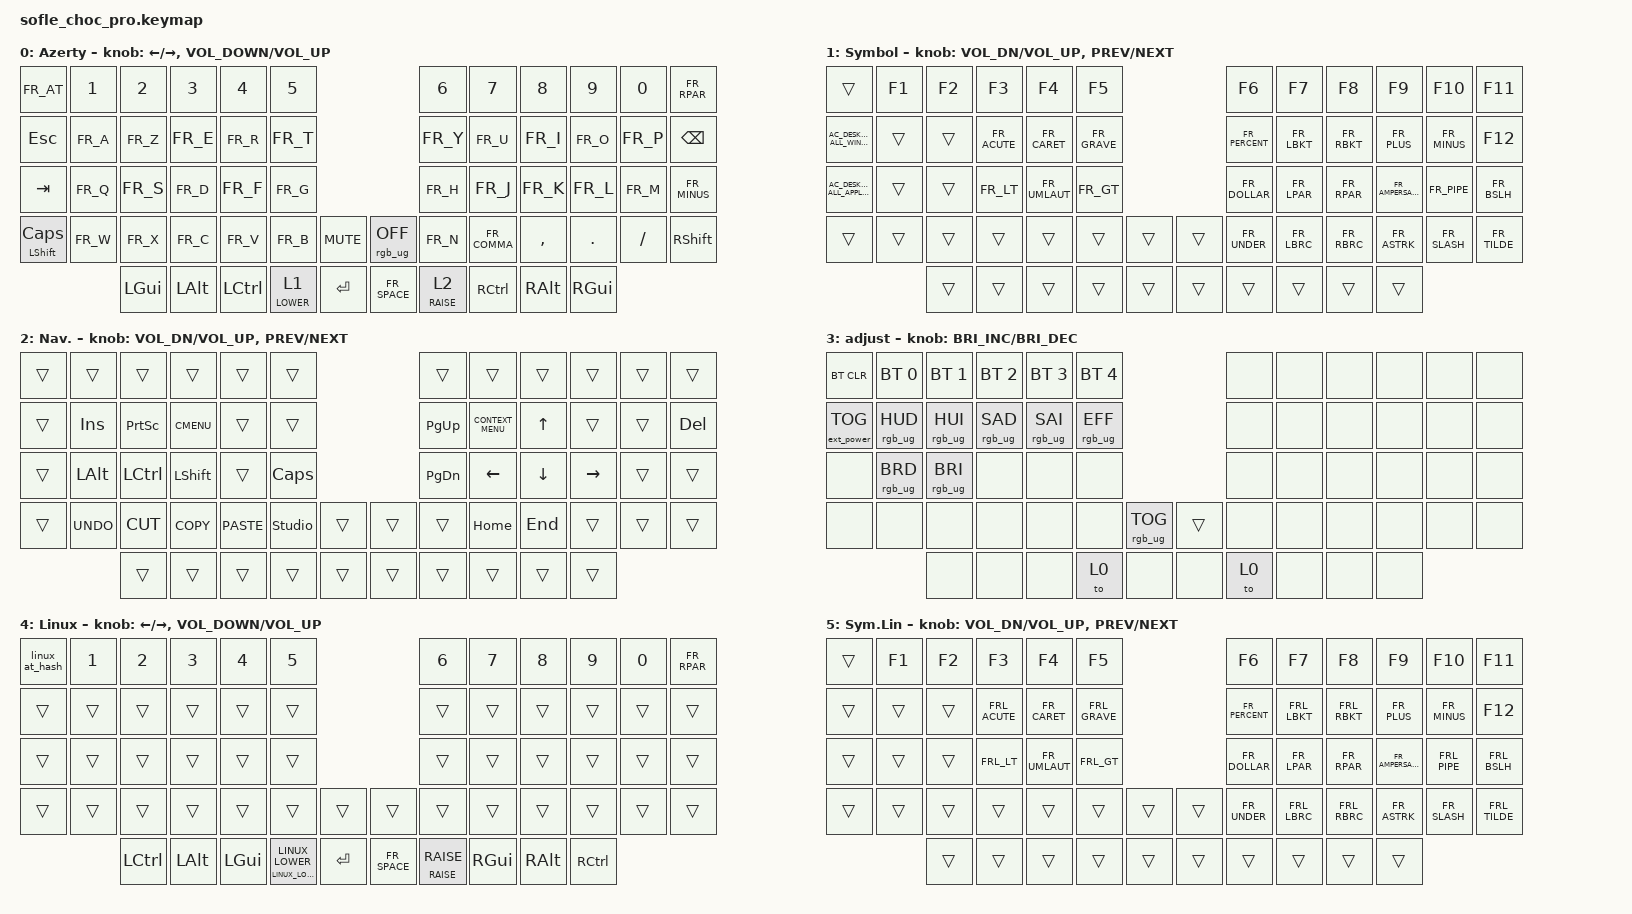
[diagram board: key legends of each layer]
/*
* Copyright (c) 2020 The ZMK Contributors
*
* SPDX-License-Identifier: MIT
*/

#include "keys_fr_belgian.h"
#include "keys_fr_belgian_linux.h"
#include <dt-bindings/zmk/hid_usage.h>
#include <dt-bindings/zmk/hid_usage_pages.h>
#include <dt-bindings/zmk/modifiers.h>
#include <behaviors.dtsi>
#include <dt-bindings/zmk/bt.h>
#include <dt-bindings/zmk/ext_power.h>
#include <dt-bindings/zmk/keys.h>
#include <dt-bindings/zmk/rgb.h>

#define BASE        0
#define LOWER       1
#define RAISE       2
#define ADJUST      3
#define LINUX_BASE  4
#define LINUX_LOWER 5

&caps_word { continue-list = <UNDERSCORE BACKSPACE DELETE COMMA MINUS>; };

/ {
    // Activate ADJUST layer by pressing raise and lower

    conditional_layers {
        compatible = "zmk,conditional-layers";

        adjust_layer {
            if-layers = <LOWER RAISE>;
            then-layer = <ADJUST>;
        };

        linux_adjust_layer {
            if-layers = <LINUX_LOWER RAISE>;
            then-layer = <ADJUST>;
        };
    };

    behaviors {
        // shift tap becomes caps word

        hold_tap: hold_tap {
            compatible = "zmk,behavior-hold-tap";
            label = "HOLD_TAP";
            bindings = <&kp>, <&caps_word>;

            #binding-cells = <2>;
            flavor = "hold-preferred";
            tapping-term-ms = <200>;
        };

        // layer hold tap becomes layer when held, toggle when tapped

        layer_hold_tap: layer_hold_tap {
            compatible = "zmk,behavior-hold-tap";
            label = "LAYER_HOLD_TAP";
            bindings = <&mo>, <&tog>;

            #binding-cells = <2>;
            tapping-term-ms = <200>;
        };

        // Linux "be" xkb puts @ and # on different physical keys (unlike macOS,
        // where # falls out for free as Shift+@-key). This mod-morph reproduces
        // the macOS two-legend @/# key explicitly on the Linux base layer.

        linux_at_hash: linux_at_hash {
            compatible = "zmk,behavior-mod-morph";
            label = "LINUX_AT_HASH";
            #binding-cells = <0>;
            bindings = <&kp FRL_AT>, <&kp FRL_HASH>;
            mods = <(MOD_LSFT|MOD_RSFT)>;
        };
    };

    combos {
        compatible = "zmk,combos";

        // macOS: D+F --> ctrl + command + left --> window snap left

        align_left {
            bindings = <&kp LC(LG(LEFT_ARROW))>;
            key-positions = <27 28>;
            layers = <BASE LOWER RAISE ADJUST>;
        };

        // macOS: J+K --> ctrl + command + right --> window snap right

        align_right {
            bindings = <&kp LC(LG(RIGHT_ARROW))>;
            key-positions = <31 32>;
            layers = <BASE LOWER RAISE ADJUST>;
        };

        // Linux: D+F --> Super+Left --> window snap left (GNOME/KDE)

        linux_align_left {
            bindings = <&kp LG(LEFT_ARROW)>;
            key-positions = <27 28>;
            layers = <LINUX_BASE LINUX_LOWER RAISE ADJUST>;
        };

        // Linux: J+K --> Super+Right --> window snap right (GNOME/KDE)

        linux_align_right {
            bindings = <&kp LG(RIGHT_ARROW)>;
            key-positions = <31 32>;
            layers = <LINUX_BASE LINUX_LOWER RAISE ADJUST>;
        };
    };

    keymap {
        compatible = "zmk,keymap";

        default_layer {
            display-name = "Azerty";

            // ------------------------------------------------------------------------------------------------------------
            // |   @   |  1  |  2  |  3   |  4   |  5   |                   |  6   |  7    |  8    |  9   |   0   |   )   |
            // |  ESC  |  A  |  Z  |  E   |  R   |  T   |                   |  Y   |  U    |  I    |  O   |   P   |  BSPC |
            // |  TAB  |  Q  |  S  |  D   |  F   |  G   |                   |  H   |  J    |  K    |  L   |   M   |   -   |
            // | SHIFT |  W  |  X  |  C   |  V   |  B   |  MUTE  |  | PLAY  |  N   |  ,    |  ,    |  .   |   /   | SHIFT |
            //               | GUI | ALT  | CTRL | LOWER|  ENTER |  | SPACE | RAISE| CTRL  | ALT   | GUI  |

            bindings = <
&kp FR_AT                  &kp N1    &kp N2    &kp N3    &kp N4     &kp N5                                                  &kp N6                   &kp N7        &kp N8     &kp N9      &kp NUMBER_0  &kp FR_RPAR
&kp ESCAPE                 &kp FR_A  &kp FR_Z  &kp FR_E  &kp FR_R   &kp FR_T                                                &kp FR_Y                 &kp FR_U      &kp FR_I   &kp FR_O    &kp FR_P      &kp BSPC
&kp TAB                    &kp FR_Q  &kp FR_S  &kp FR_D  &kp FR_F   &kp FR_G                                                &kp FR_H                 &kp FR_J      &kp FR_K   &kp FR_L    &kp FR_M      &kp FR_MINUS
&hold_tap LEFT_SHIFT CAPS  &kp FR_W  &kp FR_X  &kp FR_C  &kp FR_V   &kp FR_B                 &kp C_MUTE    &rgb_ug RGB_OFF  &kp FR_N                 &kp FR_COMMA  &kp COMMA  &kp PERIOD  &kp FSLH      &kp RSHFT
                                     &kp LGUI  &kp LALT  &kp LCTRL  &layer_hold_tap LOWER 1  &kp RET       &kp FR_SPACE     &layer_hold_tap RAISE 2  &kp RCTRL     &kp RALT   &kp RGUI
            >;

            sensor-bindings =
                <&inc_dec_kp LEFT RIGHT>,
                <&inc_dec_kp C_VOLUME_DOWN C_VOLUME_UP>;
        };

        lower_layer {
            display-name = "Symbol";

            // ------------------------------------------------------------------------------------------------------------
            // |       |  F1 |  F2 |  F3  |  F4  |  F5  |                   |  F6  |  F7   |  F8   |  F9  |  F10  |  F11  |
            // |       |     |     |  ´   |  ^   |  `   |                   |  %   |  [    |  ]    |  +   |   -   |  F12  |
            // |       |     |     |  <   |  ¨   |  >   |                   |  $   |  (    |  )    |  &   |   |   |   \   |
            // |       |     |     |      |      |      |        |  |       |  _   |  {    |  }    |  *   |   /   |   ~   |
            //               |     |      |      |      |        |  |       |      |       |       |      |

            bindings = <
&trans                                  &kp F1  &kp F2  &kp F3        &kp F4         &kp F5                          &kp F6          &kp F7       &kp F8       &kp F9            &kp F10       &kp F11
&kp C_AC_DESKTOP_SHOW_ALL_WINDOWS       &trans  &trans  &kp FR_ACUTE  &kp FR_CARET   &kp FR_GRAVE                    &kp FR_PERCENT  &kp FR_LBKT  &kp FR_RBKT  &kp FR_PLUS       &kp FR_MINUS  &kp F12
&kp C_AC_DESKTOP_SHOW_ALL_APPLICATIONS  &trans  &trans  &kp FR_LT     &kp FR_UMLAUT  &kp FR_GT                       &kp FR_DOLLAR   &kp FR_LPAR  &kp FR_RPAR  &kp FR_AMPERSAND  &kp FR_PIPE   &kp FR_BSLH
&trans                                  &trans  &trans  &trans        &trans         &trans        &trans    &trans  &kp FR_UNDER    &kp FR_LBRC  &kp FR_RBRC  &kp FR_ASTRK      &kp FR_SLASH  &kp FR_TILDE
                                                &trans  &trans        &trans         &trans        &trans    &trans  &trans          &trans       &trans       &trans
            >;

            sensor-bindings = <&inc_dec_kp C_VOL_DN C_VOL_UP &inc_dec_kp C_PREV C_NEXT>;
        };

        raise_layer {
            display-name = "Nav.";

            // ------------------------------------------------------------------------------------------------------------
            // |       |      |      |       |       |      |                |      |      |       |      |       |       |
            // |       | INS  | PSCR | MENU  |       |      |                | PGUP | RCLK |   ^   |      |       |  DEL  |
            // |       | ALT  | CTRL | SHIFT |       | CAPS |                | PGDN |   <- |   v   |  ->  |       |       |
            // |       | UNDO | CUT  | COPY  | PASTE |UNLOCK|      |  |      |      | HOME |  END  |      |       |       |
            //                |      |       |       |      |      |  |      |      |      |       |      |

            bindings = <
&trans  &trans      &trans     &trans       &trans       &trans                            &trans     &trans              &trans    &trans     &trans  &trans
&trans  &kp INS     &kp PSCRN  &kp K_CMENU  &trans       &trans                            &kp PG_UP  &kp K_CONTEXT_MENU  &kp UP    &trans     &trans  &kp DEL
&trans  &kp LALT    &kp LCTRL  &kp LSHFT    &trans       &kp CLCK                          &kp PG_DN  &kp LEFT            &kp DOWN  &kp RIGHT  &trans  &trans
&trans  &kp K_UNDO  &kp K_CUT  &kp K_COPY   &kp K_PASTE  &studio_unlock  &trans    &trans  &trans     &kp HOME            &kp END   &trans     &trans  &trans
                    &trans     &trans       &trans       &trans          &trans    &trans  &trans     &trans              &trans    &trans
            >;

            sensor-bindings = <&inc_dec_kp C_VOL_DN C_VOL_UP &inc_dec_kp C_PREV C_NEXT>;
        };

        adjust_layer {
            // ----------------------------------------------------------------------------------------------------------------------------
            // | BTCLR  |  BT1    |  BT2    |   BT3   |   BT4   |   BT5   |                  |      |      |       |      |       |       |
            // | EXTPWR | RGB_HUD | RGB_HUI | RGB_SAD | RGB_SAI | RGB_EFF |                  |      |      |       |      |       |       |
            // |        | RGB_BRD | RGB_BRI |         |         |         |                  |      |      |       |      |       |       |
            // |        |         |         |         |         |         | RGB_TOG | |      |      |      |       |      |       |       |
            //                    |         |         |         |         |         | |      |      |      |       |      |

            display-name = "adjust";
            bindings = <
&bt BT_CLR         &bt BT_SEL 0     &bt BT_SEL 1     &bt BT_SEL 2     &bt BT_SEL 3     &bt BT_SEL 4                                &none  &none  &none  &none  &none  &none
&ext_power EP_TOG  &rgb_ug RGB_HUD  &rgb_ug RGB_HUI  &rgb_ug RGB_SAD  &rgb_ug RGB_SAI  &rgb_ug RGB_EFF                             &none  &none  &none  &none  &none  &none
&none              &rgb_ug RGB_BRD  &rgb_ug RGB_BRI  &none            &none            &none                                       &none  &none  &none  &none  &none  &none
&none              &none            &none            &none            &none            &none            &rgb_ug RGB_TOG    &trans  &none  &none  &none  &none  &none  &none
                                    &none            &none            &none            &to 0            &none              &none   &to 0  &none  &none  &none
            >;

            sensor-bindings = <&inc_dec_kp C_BRI_INC C_BRI_DEC>;
        };

        // Layer 4: Linux base — activated automatically by profile_layer.c when
        // BT profile 1 (channel 2) is selected.  Swaps Ctrl↔GUI in the thumb
        // cluster, points LOWER at the Linux symbol layer (5), keeps RAISE
        // shared with macOS (navigation keys are identical on both platforms).
        // Only the @ key and the thumb cluster differ; everything else is &trans
        // falling through to the macOS base layer underneath.

        linux_base_layer {
            display-name = "Linux";
            bindings = <
&linux_at_hash &kp N1  &kp N2  &kp N3  &kp N4  &kp N5                    &kp N6  &kp N7  &kp N8  &kp N9  &kp NUMBER_0  &kp FR_RPAR
&trans      &trans  &trans  &trans  &trans  &trans                    &trans  &trans  &trans  &trans  &trans        &trans
&trans      &trans  &trans  &trans  &trans  &trans                    &trans  &trans  &trans  &trans  &trans        &trans
&trans      &trans  &trans  &trans  &trans  &trans  &trans    &trans  &trans  &trans  &trans  &trans  &trans        &trans
                    &kp LCTRL  &kp LALT  &kp LGUI  &layer_hold_tap LINUX_LOWER LINUX_LOWER  &kp RET  &kp FR_SPACE  &layer_hold_tap RAISE RAISE  &kp RGUI  &kp RALT  &kp RCTRL
            >;
            sensor-bindings =
                <&inc_dec_kp LEFT RIGHT>,
                <&inc_dec_kp C_VOLUME_DOWN C_VOLUME_UP>;
        };

        // Layer 5: Linux symbol layer — mirrors the macOS LOWER layer but uses
        // the correct AltGr combinations for Linux Belgian (FRL_* from
        // keys_fr_belgian_linux.h).  The two macOS-specific desktop keys are
        // removed; add Super+key shortcuts for your WM here if needed.

        linux_lower_layer {
            display-name = "Sym.Lin";
            bindings = <
&trans  &kp F1  &kp F2  &kp F3        &kp F4         &kp F5                          &kp F6          &kp F7        &kp F8        &kp F9            &kp F10       &kp F11
&trans  &trans  &trans  &kp FRL_ACUTE  &kp FR_CARET   &kp FRL_GRAVE                   &kp FR_PERCENT  &kp FRL_LBKT  &kp FRL_RBKT  &kp FR_PLUS       &kp FR_MINUS  &kp F12
&trans  &trans  &trans  &kp FRL_LT     &kp FR_UMLAUT  &kp FRL_GT                      &kp FR_DOLLAR   &kp FR_LPAR   &kp FR_RPAR   &kp FR_AMPERSAND  &kp FRL_PIPE  &kp FRL_BSLH
&trans  &trans  &trans  &trans        &trans         &trans        &trans    &trans  &kp FR_UNDER    &kp FRL_LBRC  &kp FRL_RBRC  &kp FR_ASTRK      &kp FR_SLASH  &kp FRL_TILDE
                &trans  &trans        &trans         &trans        &trans    &trans  &trans          &trans        &trans        &trans
            >;
            sensor-bindings = <&inc_dec_kp C_VOL_DN C_VOL_UP &inc_dec_kp C_PREV C_NEXT>;
        };
    };
};
